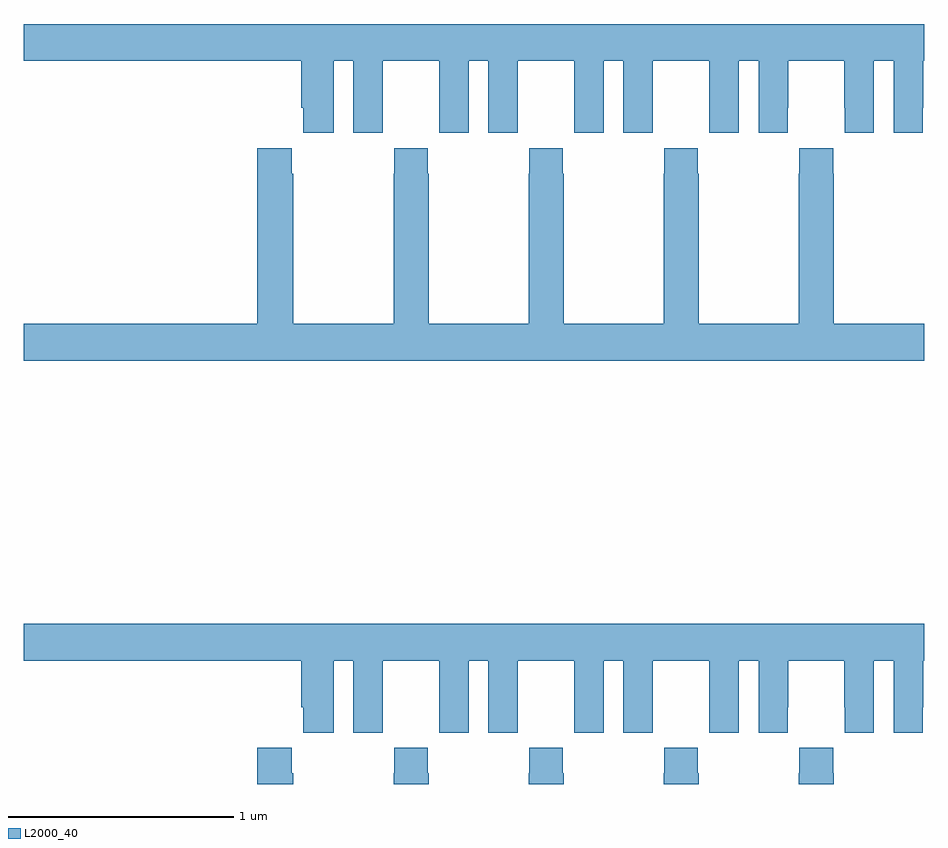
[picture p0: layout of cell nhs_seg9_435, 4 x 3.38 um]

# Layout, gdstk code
import gdstk
lib = gdstk.Library(unit=1e-6, precision=1e-09)
def P(c, l, *ps):  # polygons
    for p in ps: c.add(gdstk.Polygon(p, *l))
L2000_40 = (2000, 40)

nhs_seg9_435 = lib.new_cell('nhs_seg9_435')
P(nhs_seg9_435, L2000_40, [(132.376,1237.712),(132.464,1237.712),(132.464,1237.392),(132.594,1237.392),(132.594,1237.504),(132.595,1237.504),(132.595,1237.712),(132.845,1237.712),(132.845,1237.504),(132.846,1237.504),(132.846,1237.392),(132.976,1237.392),(132.976,1237.712),(133.064,1237.712),(133.064,1237.392),(133.194,1237.392),(133.194,1237.504),(133.195,1237.504),(133.195,1237.712),(133.445,1237.712),(133.445,1237.504),(133.446,1237.504),(133.446,1237.392),(133.576,1237.392),(133.576,1237.712),(133.664,1237.712),(133.664,1237.392),(133.794,1237.392),(133.794,1237.504),(133.795,1237.504),(133.795,1237.712),(134.045,1237.712),(134.045,1237.504),(134.046,1237.504),(134.046,1237.392),(134.176,1237.392),(134.176,1237.712),(134.264,1237.712),(134.264,1237.392),(134.394,1237.392),(134.394,1237.504),(134.395,1237.504),(134.395,1237.712),(134.645,1237.712),(134.645,1237.504),(134.646,1237.504),(134.646,1237.392),(134.776,1237.392),(134.776,1237.712),(134.864,1237.712),(134.864,1237.392),(134.994,1237.392),(134.994,1237.504),(134.995,1237.504),(134.995,1237.712),(135,1237.712),(135,1237.876),(131,1237.876),(131,1237.712),(132.233,1237.712),(132.233,1237.504),(132.242,1237.504),(132.242,1237.392),(132.376,1237.392)],
  [(135,1236.544),(134.598,1236.544),(134.598,1237.211),(134.595,1237.211),(134.595,1237.324),(134.445,1237.324),(134.445,1237.211),(134.443,1237.211),(134.443,1236.544),(133.998,1236.544),(133.998,1237.211),(133.995,1237.211),(133.995,1237.324),(133.845,1237.324),(133.845,1237.211),(133.843,1237.211),(133.843,1236.544),(133.398,1236.544),(133.398,1237.211),(133.395,1237.211),(133.395,1237.324),(133.245,1237.324),(133.245,1237.211),(133.243,1237.211),(133.243,1236.544),(132.798,1236.544),(132.798,1237.211),(132.795,1237.211),(132.795,1237.324),(132.645,1237.324),(132.645,1237.211),(132.643,1237.211),(132.643,1236.544),(132.198,1236.544),(132.198,1237.211),(132.191,1237.211),(132.191,1237.324),(132.038,1237.324),(132.038,1236.544),(131,1236.544),(131,1236.38),(135,1236.38)],
  [(132.376,1235.048),(132.464,1235.048),(132.464,1234.728),(132.594,1234.728),(132.594,1234.84),(132.595,1234.84),(132.595,1235.048),(132.845,1235.048),(132.845,1234.84),(132.846,1234.84),(132.846,1234.728),(132.976,1234.728),(132.976,1235.048),(133.064,1235.048),(133.064,1234.728),(133.194,1234.728),(133.194,1234.84),(133.195,1234.84),(133.195,1235.048),(133.445,1235.048),(133.445,1234.84),(133.446,1234.84),(133.446,1234.728),(133.576,1234.728),(133.576,1235.048),(133.664,1235.048),(133.664,1234.728),(133.794,1234.728),(133.794,1234.84),(133.795,1234.84),(133.795,1235.048),(134.045,1235.048),(134.045,1234.84),(134.046,1234.84),(134.046,1234.728),(134.176,1234.728),(134.176,1235.048),(134.264,1235.048),(134.264,1234.728),(134.394,1234.728),(134.394,1234.84),(134.395,1234.84),(134.395,1235.048),(134.645,1235.048),(134.645,1234.84),(134.646,1234.84),(134.646,1234.728),(134.776,1234.728),(134.776,1235.048),(134.864,1235.048),(134.864,1234.728),(134.994,1234.728),(134.994,1234.84),(134.995,1234.84),(134.995,1235.048),(135,1235.048),(135,1235.212),(131,1235.212),(131,1235.048),(132.233,1235.048),(132.233,1234.84),(132.242,1234.84),(132.242,1234.728),(132.376,1234.728)],
  [(133.398,1234.547),(133.395,1234.547),(133.395,1234.66),(133.245,1234.66),(133.245,1234.547),(133.243,1234.547),(133.243,1234.5),(133.398,1234.5)],
  [(132.198,1234.547),(132.191,1234.547),(132.191,1234.66),(132.038,1234.66),(132.038,1234.5),(132.198,1234.5)],
  [(132.798,1234.547),(132.795,1234.547),(132.795,1234.66),(132.645,1234.66),(132.645,1234.547),(132.643,1234.547),(132.643,1234.5),(132.798,1234.5)],
  [(133.998,1234.547),(133.995,1234.547),(133.995,1234.66),(133.845,1234.66),(133.845,1234.547),(133.843,1234.547),(133.843,1234.5),(133.998,1234.5)],
  [(134.598,1234.547),(134.595,1234.547),(134.595,1234.66),(134.445,1234.66),(134.445,1234.547),(134.443,1234.547),(134.443,1234.5),(134.598,1234.5)])

lib.write_gds('nhs_seg9_435.gds')
